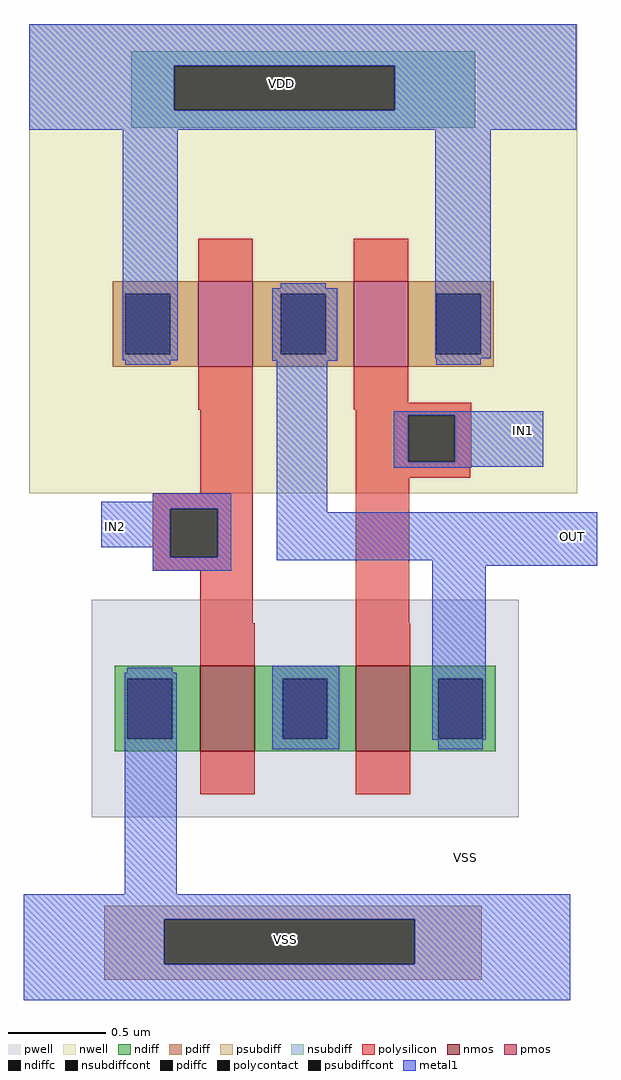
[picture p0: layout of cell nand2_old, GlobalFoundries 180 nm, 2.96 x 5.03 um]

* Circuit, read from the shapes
.subckt nand2_old IN2 OUT IN1 VDD VSS
XM1 n1 IN2 VSS VSS nfet_03v3 w=0.44u l=0.28u
XM2 OUT IN1 n1 VSS nfet_03v3 w=0.44u l=0.28u
XM3 OUT IN2 VDD VDD pfet_03v3 w=0.44u l=0.28u
XM4 VDD IN1 OUT VDD pfet_03v3 w=0.44u l=0.28u
.ends

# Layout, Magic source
magic
tech gf180mcuC
magscale 1 10
<< nwell >>
rect -64 682 500 817
<< psubdiff >>
rect 13 -105 402 -91
rect 13 -151 75 -105
rect 333 -151 402 -105
rect 13 -167 402 -151
<< nsubdiff >>
rect 41 774 395 789
rect 41 728 85 774
rect 312 728 395 774
rect 41 710 395 728
<< psubdiffcont >>
rect 75 -151 333 -105
<< nsubdiffcont >>
rect 85 728 312 774
<< polysilicon >>
rect 311 421 391 427
rect 112 334 166 421
rect 63 318 166 334
rect 63 268 81 318
rect 130 268 166 318
rect 63 254 166 268
rect 112 200 166 254
rect 272 414 391 421
rect 272 366 326 414
rect 374 366 391 414
rect 272 360 391 366
rect 272 350 390 360
rect 272 200 327 350
<< polycontact >>
rect 81 268 130 318
rect 326 366 374 414
<< metal1 >>
rect -64 774 499 817
rect -64 728 85 774
rect 312 728 499 774
rect -64 708 499 728
rect 32 471 89 708
rect 186 470 253 545
rect 354 473 411 708
rect 63 325 144 334
rect 10 318 144 325
rect 10 278 81 318
rect 63 268 81 278
rect 130 268 144 318
rect 63 254 144 268
rect 191 314 243 470
rect 311 414 465 418
rect 311 366 326 414
rect 374 366 465 414
rect 311 361 465 366
rect 311 360 391 361
rect 191 265 521 314
rect 351 259 521 265
rect 34 -79 88 149
rect 186 70 255 156
rect 351 80 406 259
rect -70 -105 493 -79
rect -70 -151 75 -105
rect 333 -151 493 -105
rect -70 -188 493 -151
use nmos_3p3_5QNVWA  nmos_3p3_5QNVWA_0
transform 1 0 140 0 1 112
box -140 -112 140 112
use nmos_3p3_5QNVWA  nmos_3p3_5QNVWA_1
transform 1 0 300 0 1 112
box -140 -112 140 112
use pmos_3p3_M8NZNG  pmos_3p3_M8NZNG_0
transform 1 0 138 0 1 508
box -202 -174 202 174
use pmos_3p3_M8NZNG  pmos_3p3_M8NZNG_1
transform -1 0 298 0 -1 508
box -202 -174 202 174
<< labels >>
flabel metal1 25 300 25 300 0 FreeSans 320 0 0 0 IN2
port 0 nsew
flabel metal1 495 289 495 289 0 FreeSans 320 0 0 0 OUT
port 1 nsew
flabel metal1 445 398 445 398 0 FreeSans 320 0 0 0 IN1
port 2 nsew
flabel nsubdiffcont 196 756 196 756 0 FreeSans 480 0 0 0 VDD
port 3 nsew
flabel psubdiffcont 200 -126 200 -126 0 FreeSans 480 0 0 0 VSS
port 4 nsew
flabel space 200 -126 571 44 0 FreeSans 480 0 0 0 VSS
port 5 nsew
<< end >>

# cell nmos_3p3_5QNVWA: kit device nmos_3p3, w 0.440 l 0.280 m 1 nf 1 diffcov 100 polycov 100 guard 0 glc 0 grc 0 gtc 0 gbc 0 tbcov 100 rlcov 100 topc 0 botc 0 poverlap 0 doverlap 1 lmin 0.28 wmin 0.22 full_metal 0 compatible {nmos_3p3 nmos_6p0 nmos_6p0_nat}

# cell pmos_3p3_M8NZNG: kit device pmos_3p3, w 0.440 l 0.280 m 1 nf 1 diffcov 100 polycov 100 guard 0 glc 0 grc 0 gtc 0 gbc 0 tbcov 100 rlcov 100 topc 0 botc 0 poverlap 0 doverlap 1 lmin 0.28 wmin 0.22 full_metal 0 compatible {pmos_3p3 pmos_6p0}
